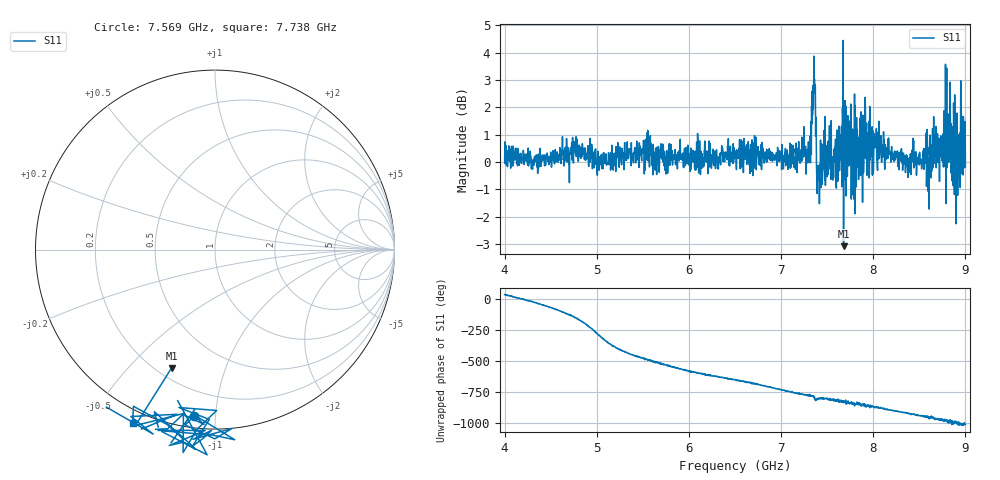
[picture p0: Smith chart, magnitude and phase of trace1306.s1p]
! Created with skrf 1.8.0 (http://scikit-rf.org).
# Hz S RI R 50.0
!freq ReS11 ImS11
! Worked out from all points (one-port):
!   1601 points, 4 GHz to 9 GHz, reference 50 ohm
!   lowest |S11| = -3.1 dB at 7.678 GHz (marker M1), VSWR 5.71, Z = 12.8 - j33.3 ohm
!   |S11| at or under -10 dB: nowhere
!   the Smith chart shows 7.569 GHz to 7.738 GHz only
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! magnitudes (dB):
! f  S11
! 4 GHz  0.1
! 4.625 GHz  0.5
! 5.25 GHz  0.6
! 5.875 GHz  -0.2
! 6.5 GHz  0.3
! 7.125 GHz  0.4
! 7.294 GHz  0.1
! 7.356 GHz  3.9
! 7.412 GHz  -0.6
! 7.519 GHz  -0.1
! 7.591 GHz  0.8
! 7.634 GHz  -0.3
! 7.65 GHz  0.1
! 7.678 GHz  -3.1
! 7.75 GHz  -0.1
! 7.788 GHz  -0.1
! 7.928 GHz  1.4
! 7.981 GHz  0.2
! 8.375 GHz  0.1
! 8.562 GHz  0.2
! 8.603 GHz  0.1
! 8.656 GHz  1.7
! 8.728 GHz  0.5
! 8.819 GHz  0.0
! 8.844 GHz  -0.4
! 8.919 GHz  -0.2
! 8.972 GHz  1.0
! 9 GHz  -0.2
